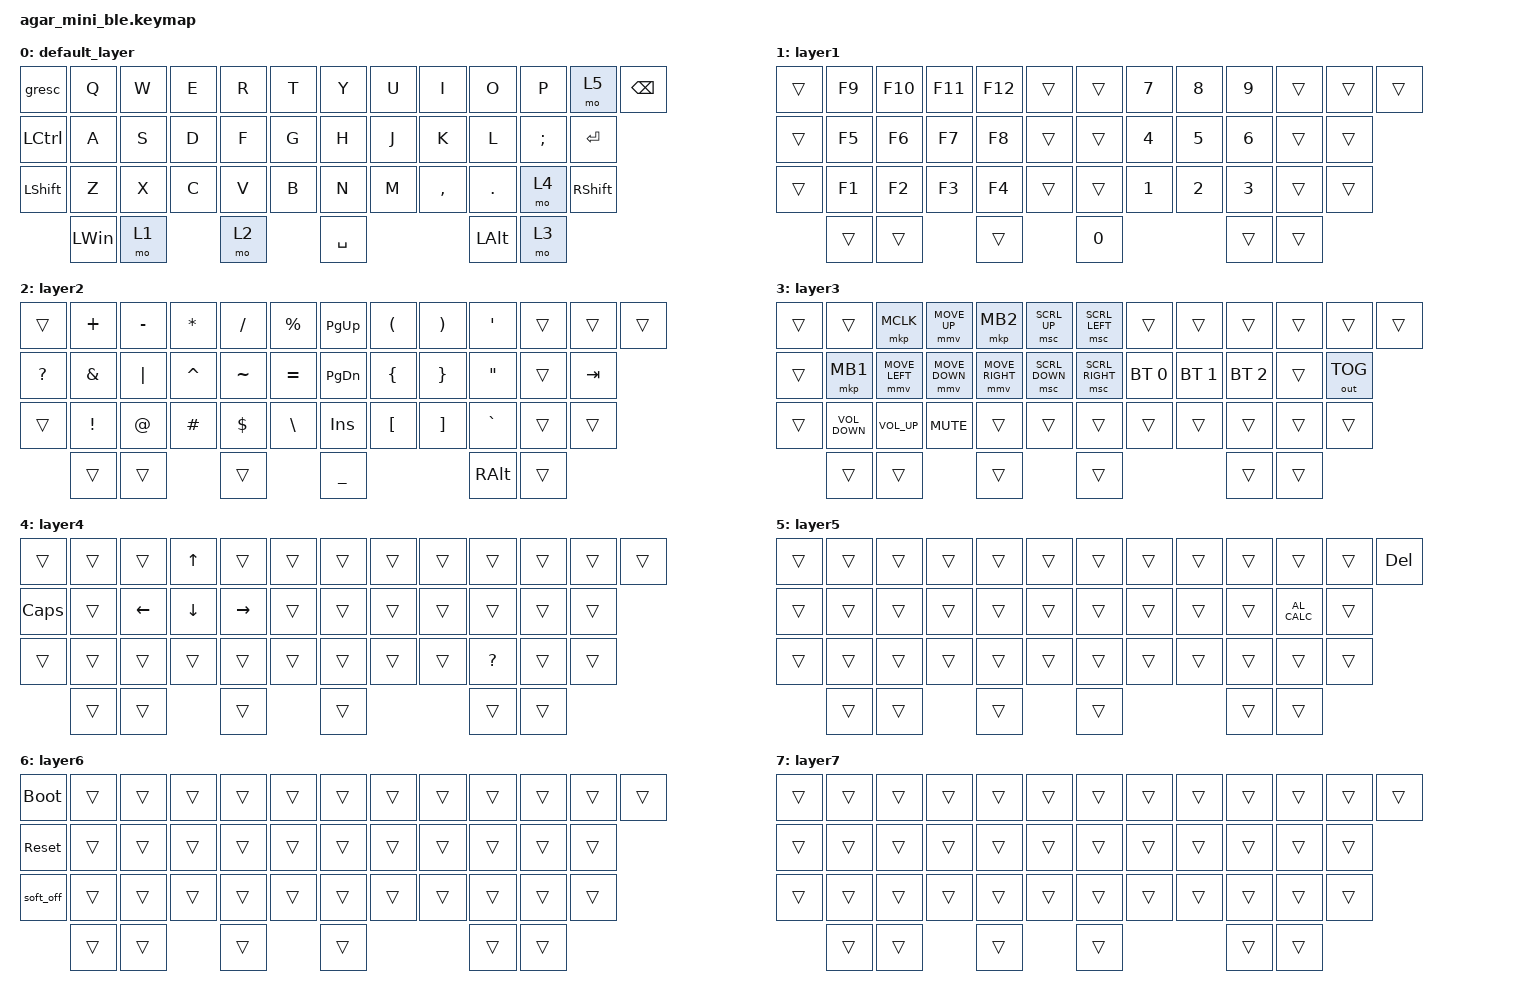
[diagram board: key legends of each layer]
/*
 * Copyright (c) 2021 The ZMK Contributors
 *
 * SPDX-License-Identifier: MIT
 */

#include "./boards/shields/klink_kbd/common.keymap"
#include <behaviors.dtsi>
#include <dt-bindings/zmk/bt.h>
#include <dt-bindings/zmk/keys.h>
#include <dt-bindings/zmk/outputs.h>
#include <dt-bindings/zmk/pointing.h>

/ {
    combos {
        compatible = "zmk,combos";

        bs {
            bindings = <&kp BACKSPACE>;
            key-positions = <3 4>;
            timeout-ms = <30>;
            require-prior-idle-ms = <100>;
            slow-release;
            layers = <0>;
        };

        del {
            bindings = <&kp DEL>;
            key-positions = <28 29>;
            timeout-ms = <30>;
            require-prior-idle-ms = <100>;
            slow-release;
            layers = <0>;
        };

        home {
            bindings = <&kp HOME>;
            key-positions = <7 8>;
            timeout-ms = <30>;
            require-prior-idle-ms = <100>;
            layers = <0>;
        };

        end {
            bindings = <&kp END>;
            key-positions = <20 21>;
            timeout-ms = <30>;
            require-prior-idle-ms = <100>;
            layers = <0>;
        };

        tab {
            bindings = <&kp TAB>;
            key-positions = <16 17>;
            timeout-ms = <30>;
            require-prior-idle-ms = <100>;
            layers = <0>;
        };

        ralt {
            bindings = <&kp RALT>;
            key-positions = <32 33>;
            layers = <0>;
            timeout-ms = <30>;
            require-prior-idle-ms = <100>;
        };
    };

    keymap {
        compatible = "zmk,keymap";

        default_layer {
            bindings = <
&gresc     &kp Q         &kp W  &kp E  &kp R  &kp T  &kp Y      &kp U  &kp I      &kp O         &kp P     &mo 5       &kp BSPC
&kp LCTRL  &kp A         &kp S  &kp D  &kp F  &kp G  &kp H      &kp J  &kp K      &kp L         &kp SEMI  &kp ENTER
&kp LSHFT  &kp Z         &kp X  &kp C  &kp V  &kp B  &kp N      &kp M  &kp COMMA  &kp DOT       &mo 4     &kp RSHIFT
           &kp LEFT_WIN  &mo 1         &mo 2         &kp SPACE                    &kp LEFT_ALT  &mo 3
            >;
        };

        layer1 {
            bindings = <
&trans  &kp F9  &kp F10  &kp F11  &kp F12  &trans  &trans        &kp NUMBER_7  &kp NUMBER_8  &kp NUMBER_9  &trans  &trans  &trans
&trans  &kp F5  &kp F6   &kp F7   &kp F8   &trans  &trans        &kp NUMBER_4  &kp NUMBER_5  &kp NUMBER_6  &trans  &trans
&trans  &kp F1  &kp F2   &kp F3   &kp F4   &trans  &trans        &kp NUMBER_1  &kp NUMBER_2  &kp NUMBER_3  &trans  &trans
        &trans  &trans            &trans           &kp NUMBER_0                              &trans        &trans
            >;
        };

        layer2 {
            bindings = <
&trans        &kp PLUS         &kp MINUS    &kp ASTERISK  &kp SLASH   &kp PERCENT    &kp PAGE_UP  &kp LEFT_PARENTHESIS  &kp RIGHT_PARENTHESIS  &kp SQT            &trans  &trans   &trans
&kp QUESTION  &kp AMPERSAND    &kp PIPE     &kp CARET     &kp TILDE   &kp EQUAL      &kp PG_DN    &kp LEFT_BRACE        &kp RIGHT_BRACE        &kp DOUBLE_QUOTES  &trans  &kp TAB
&trans        &kp EXCLAMATION  &kp AT_SIGN  &kp HASH      &kp DOLLAR  &kp BACKSLASH  &kp INSERT   &kp LEFT_BRACKET      &kp RIGHT_BRACKET      &kp GRAVE          &trans  &trans
              &trans           &trans                     &trans                     &kp UNDER                                                 &kp RALT           &trans
            >;
        };

        layer3 {
            bindings = <
&trans  &trans             &mkp MCLK        &mmv MOVE_UP    &mkp MB2         &msc SCRL_UP    &msc SCRL_LEFT   &trans        &trans        &trans        &trans  &trans        &trans
&trans  &mkp MB1           &mmv MOVE_LEFT   &mmv MOVE_DOWN  &mmv MOVE_RIGHT  &msc SCRL_DOWN  &msc SCRL_RIGHT  &bt BT_SEL 0  &bt BT_SEL 1  &bt BT_SEL 2  &trans  &out OUT_TOG
&trans  &kp C_VOLUME_DOWN  &kp C_VOLUME_UP  &kp C_MUTE      &trans           &trans          &trans           &trans        &trans        &trans        &trans  &trans
        &trans             &trans                           &trans                           &trans                                       &trans        &trans
            >;
        };

        layer4 {
            bindings = <
&trans        &trans  &trans          &kp UP_ARROW    &trans           &trans  &trans  &trans  &trans  &trans        &trans  &trans  &trans
&kp CAPSLOCK  &trans  &kp LEFT_ARROW  &kp DOWN_ARROW  &kp RIGHT_ARROW  &trans  &trans  &trans  &trans  &trans        &trans  &trans
&trans        &trans  &trans          &trans          &trans           &trans  &trans  &trans  &trans  &kp QUESTION  &trans  &trans
              &trans  &trans                          &trans                   &trans                  &trans        &trans
            >;
        };

        layer5 {
            bindings = <
&trans  &trans  &trans  &trans  &trans  &trans  &trans  &trans  &trans  &trans  &trans         &trans  &kp DEL
&trans  &trans  &trans  &trans  &trans  &trans  &trans  &trans  &trans  &trans  &kp C_AL_CALC  &trans
&trans  &trans  &trans  &trans  &trans  &trans  &trans  &trans  &trans  &trans  &trans         &trans
        &trans  &trans          &trans          &trans                  &trans  &trans
            >;
        };

        layer6 {
            bindings = <
&bootloader  &trans  &trans  &trans  &trans  &trans  &trans  &trans  &trans  &trans  &trans  &trans  &trans
&sys_reset   &trans  &trans  &trans  &trans  &trans  &trans  &trans  &trans  &trans  &trans  &trans
&soft_off    &trans  &trans  &trans  &trans  &trans  &trans  &trans  &trans  &trans  &trans  &trans
             &trans  &trans          &trans          &trans                  &trans  &trans
            >;
        };

        layer7 {
            bindings = <
&trans  &trans  &trans  &trans  &trans  &trans  &trans  &trans  &trans  &trans  &trans  &trans  &trans
&trans  &trans  &trans  &trans  &trans  &trans  &trans  &trans  &trans  &trans  &trans  &trans
&trans  &trans  &trans  &trans  &trans  &trans  &trans  &trans  &trans  &trans  &trans  &trans
        &trans  &trans          &trans          &trans                  &trans  &trans
            >;
        };
    };

    conditional_layers {
        compatible = "zmk,conditional-layers";

        bootloader {
            if-layers = <1 3>;
            then-layer = <6>;
        };
    };
};
